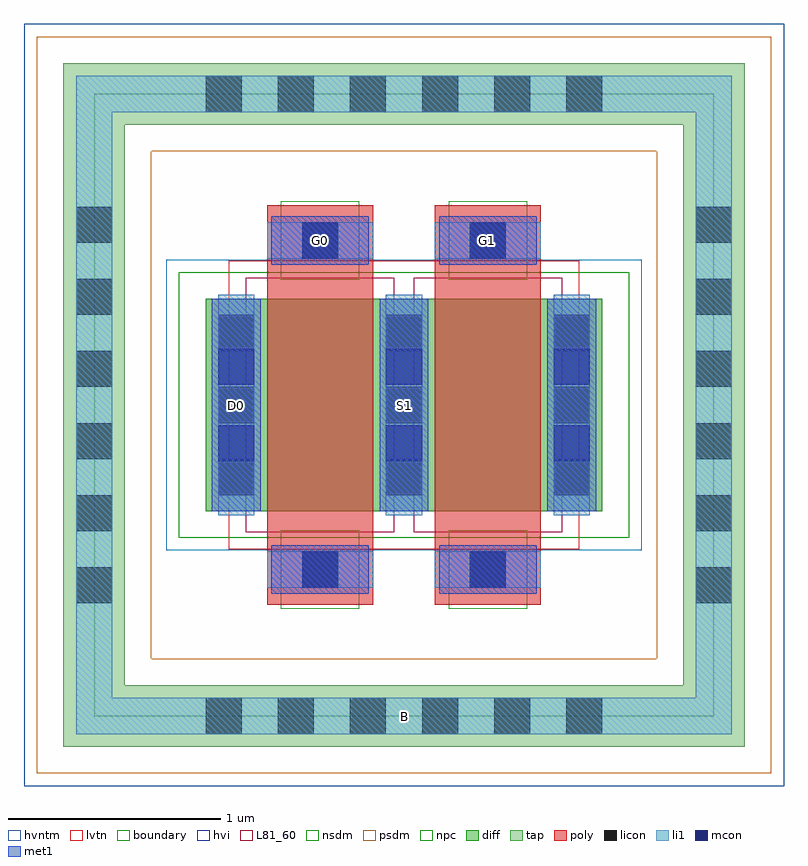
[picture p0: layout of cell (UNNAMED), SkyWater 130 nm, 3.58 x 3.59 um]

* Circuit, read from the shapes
.subckt (UNNAMED) B D0 G0 G1 S1
XM1 S1 G0 D0 B sky130_fd_pr__nfet_05v0_nvt w=1 l=0.5
XM2 n1 G1 S1 B sky130_fd_pr__nfet_05v0_nvt w=1 l=0.5
.ends

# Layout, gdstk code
import gdstk
lib = gdstk.Library(unit=1e-6, precision=1e-09)
def R(c, l, rs):  # rectangles x0, y0, x1, y1
    for r in rs: c.add(gdstk.rectangle(r[:2], r[2:], *l))
def A(c, l, x, y, w, h, nx, ny, dx, dy):  # array of equal rectangles
    R(c, l, [(x+i*dx, y+j*dy, x+i*dx+w, y+j*dy+h) for i in range(nx) for j in range(ny)])
diff = (65, 20)
tap = (65, 44)
poly = (66, 20)
licon = (66, 44)
li1 = (67, 20)
mcon = (67, 44)
met1 = (68, 20)
hvi = (75, 20)
L81_60 = (81, 60)
nsdm = (93, 44)
psdm = (94, 20)
npc = (95, 20)
hvntm = (125, 20)
lvtn = (125, 44)
boundary = (235, 4)

c__unnamed_ = lib.new_cell('(UNNAMED)')
R(c__unnamed_, diff, [(-0.935,-0.5,0.935,0.5)])
R(c__unnamed_, tap, [(-1.605,-1.61,1.605,-1.32), (-1.605,-1.32,-1.315,1.32), (1.315,-1.32,1.605,1.32), (-1.605,1.32,1.605,1.61)])
R(c__unnamed_, poly, [(-0.645,-0.94,-0.145,0.94), (0.145,-0.94,0.645,0.94)])
A(c__unnamed_, licon, -0.935, -1.55, 0.17, 0.17, 6, 2, 0.34, 2.93)
A(c__unnamed_, licon, -1.545, -0.935, 0.17, 0.17, 1, 6, 0, 0.34)
A(c__unnamed_, licon, 1.375, -0.935, 0.17, 0.17, 1, 6, 0, 0.34)
A(c__unnamed_, licon, -0.875, -0.425, 0.17, 0.17, 3, 3, 0.79, 0.34)
R(c__unnamed_, licon, [(-0.48,-0.86,-0.31,-0.69), (0.31,-0.86,0.48,-0.69), (-0.48,0.69,-0.31,0.86), (0.31,0.69,0.48,0.86)])
A(c__unnamed_, li1, -0.875, -0.52, 0.17, 1.04, 3, 1, 0.79, 0)
R(c__unnamed_, li1, [(-1.545,-1.55,1.545,-1.38), (-1.545,-1.38,-1.375,1.38), (1.375,-1.38,1.545,1.38), (-0.645,-0.86,-0.145,-0.69), (0.145,-0.86,0.645,-0.69), (-0.645,0.69,-0.145,0.86), (0.145,0.69,0.645,0.86), (-1.545,1.38,1.545,1.55)])
A(c__unnamed_, mcon, -0.875, -0.265, 0.17, 0.17, 3, 2, 0.79, 0.36)
R(c__unnamed_, mcon, [(-0.48,-0.86,-0.31,-0.69), (0.31,-0.86,0.48,-0.69), (-0.48,0.69,-0.31,0.86), (0.31,0.69,0.48,0.86)])
A(c__unnamed_, met1, -0.905, -0.5, 0.23, 1, 3, 1, 0.79, 0)
R(c__unnamed_, met1, [(-0.625,-0.89,-0.165,-0.66), (0.165,-0.89,0.625,-0.66), (-0.625,0.66,-0.165,0.89), (0.165,0.66,0.625,0.89)])
R(c__unnamed_, hvi, [(-1.79,-1.795,1.79,1.795)])
R(c__unnamed_, L81_60, [(-0.745,-0.6,-0.045,0.6), (0.045,-0.6,0.745,0.6)])
R(c__unnamed_, nsdm, [(-1.06,-0.625,1.06,0.625)])
R(c__unnamed_, psdm, [(-1.73,-1.735,1.73,-1.195), (-1.73,-1.195,-1.19,1.195), (1.19,-1.195,1.73,1.195), (-1.73,1.195,1.73,1.735)])
R(c__unnamed_, npc, [(-0.58,-0.96,-0.21,-0.59), (0.21,-0.96,0.58,-0.59), (-0.58,0.59,-0.21,0.96), (0.21,0.59,0.58,0.96)])
R(c__unnamed_, hvntm, [(-1.12,-0.685,1.12,0.685)])
R(c__unnamed_, lvtn, [(-0.825,-0.68,0.825,0.68)])
R(c__unnamed_, boundary, [(-1.46,-1.465,1.46,1.465)])
c__unnamed_.add(gdstk.Label('B', (0,-1.465), layer=67, texttype=5))
c__unnamed_.add(gdstk.Label('D0', (-0.79,0), layer=67, texttype=5))
c__unnamed_.add(gdstk.Label('G0', (-0.395,0.775), layer=67, texttype=5))
c__unnamed_.add(gdstk.Label('S1', (0,0), layer=67, texttype=5))
c__unnamed_.add(gdstk.Label('G1', (0.395,0.775), layer=67, texttype=5))

lib.write_gds('_UNNAMED_.gds')
